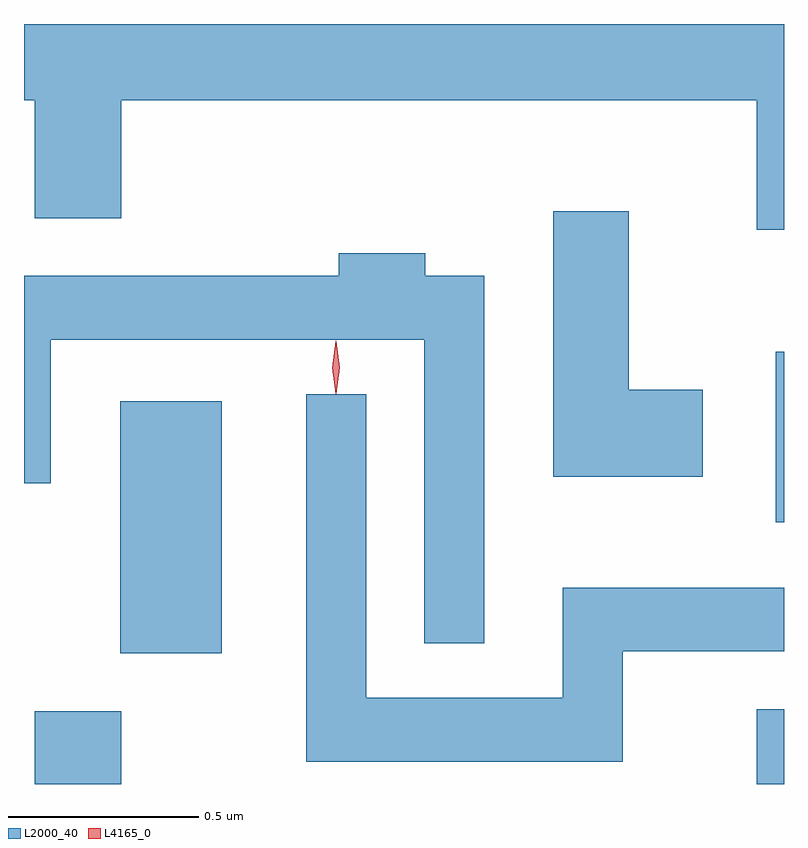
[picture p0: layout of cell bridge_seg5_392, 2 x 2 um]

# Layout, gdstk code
import gdstk
lib = gdstk.Library(unit=1e-6, precision=1e-09)
def R(c, l, rs):  # rectangles x0, y0, x1, y1
    for r in rs: c.add(gdstk.rectangle(r[:2], r[2:], *l))
def P(c, l, *ps):  # polygons
    for p in ps: c.add(gdstk.Polygon(p, *l))
L2000_40 = (2000, 40)
L4165_0 = (4165, 0)

bridge_seg5_392 = lib.new_cell('bridge_seg5_392')
R(bridge_seg5_392, L2000_40, [(541.751,1514.937,541.979,1515.129), (543.651,1514.937,543.723,1515.134), (541.976,1515.281,542.244,1515.944), (543.701,1515.626,543.723,1516.074)])
P(bridge_seg5_392, L2000_40, [(543.723,1516.937),(541.723,1516.937),(541.723,1516.736),(541.751,1516.736),(541.751,1516.426),(541.979,1516.426),(541.979,1516.736),(543.651,1516.736),(543.651,1516.396),(543.723,1516.396)],
  [(543.509,1515.974),(543.314,1515.974),(543.314,1516.444),(543.116,1516.444),(543.116,1515.746),(543.509,1515.746)],
  [(542.934,1516.274),(542.779,1516.274),(542.779,1516.334),(542.551,1516.334),(542.551,1516.274),(541.723,1516.274),(541.723,1515.728),(541.794,1515.728),(541.794,1516.106),(542.776,1516.106),(542.776,1515.308),(542.934,1515.308)],
  [(543.299,1515.286),(543.723,1515.286),(543.723,1515.454),(543.141,1515.454),(543.141,1515.164),(542.624,1515.164),(542.624,1515.963),(542.466,1515.963),(542.466,1514.996),(543.299,1514.996)])
P(bridge_seg5_392, L4165_0, [(542.544,1515.967),(542.535,1516.034),(542.544,1516.1),(542.544,1516.1),(542.545,1516.1),(542.554,1516.034),(542.545,1515.967),(542.545,1515.967)],
  [(542.544,1515.964),(542.544,1515.964),(542.534,1516.033),(542.544,1516.102),(542.544,1516.103),(542.545,1516.102),(542.554,1516.033),(542.545,1515.964)])

lib.write_gds('bridge_seg5_392.gds')
